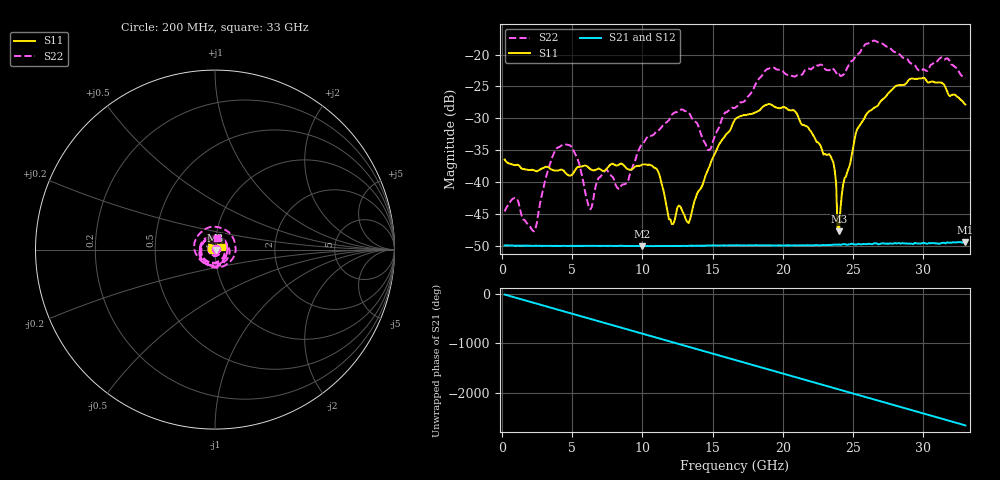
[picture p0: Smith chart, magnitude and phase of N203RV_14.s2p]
# GHZ S RI R 50
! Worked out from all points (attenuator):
!   329 points, 200 MHz to 33 GHz, reference 50 ohm
!   highest |S21| = -49.43 dB at 33 GHz (marker M1); lowest = -50.1 dB at 10 GHz (marker M2)
!   lowest |S11| = -47.8 dB at 24 GHz (marker M3), VSWR 1.01, Z = 50.3 - j0.273 ohm
!   |S11| at or under -10 dB: start of sweep to end of sweep
!   |S22| runs from -47.8 to -17.8 dB; largest |S21 - S12| = 7.2e-05
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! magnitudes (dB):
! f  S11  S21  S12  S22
! 200 MHz  -36.5  -50.0  -50.0  -44.6
! 1 GHz  -37.4  -50.0  -50.0  -42.5
! 2.3 GHz  -38.2  -50.0  -50.0  -47.8
! 4.4 GHz  -38.2  -50.0  -50.0  -34.1
! 5.7 GHz  -37.6  -50.0  -50.0  -38.9
! 6.3 GHz  -38.0  -50.0  -50.0  -44.3
! 6.9 GHz  -37.9  -50.1  -50.0  -39.3
! 8.4 GHz  -37.2  -50.0  -50.0  -41.1
! 10 GHz  -37.3  -50.1  -50.1  -34.1
! 11.2 GHz  -38.7  -50.1  -50.0  -31.8
! 12.1 GHz  -46.6  -50.1  -50.0  -29.5
! 13.3 GHz  -46.4  -50.0  -50.0  -29.1
! 14.7 GHz  -38.0  -50.0  -50.0  -35.0
! 16.6 GHz  -30.2  -49.9  -49.9  -28.4
! 18.9 GHz  -27.9  -50.0  -49.9  -22.3
! 22.1 GHz  -32.4  -49.9  -49.9  -22.2
! 23.6 GHz  -36.9  -49.9  -49.9  -22.3
! 24 GHz  -47.8  -49.8  -49.8  -23.1
! 24.3 GHz  -40.4  -49.8  -49.8  -23.2
! 25.3 GHz  -31.7  -49.8  -49.8  -20.0
! 27.6 GHz  -25.9  -49.6  -49.7  -18.9
! 33 GHz  -27.9  -49.4  -49.4  -23.7
